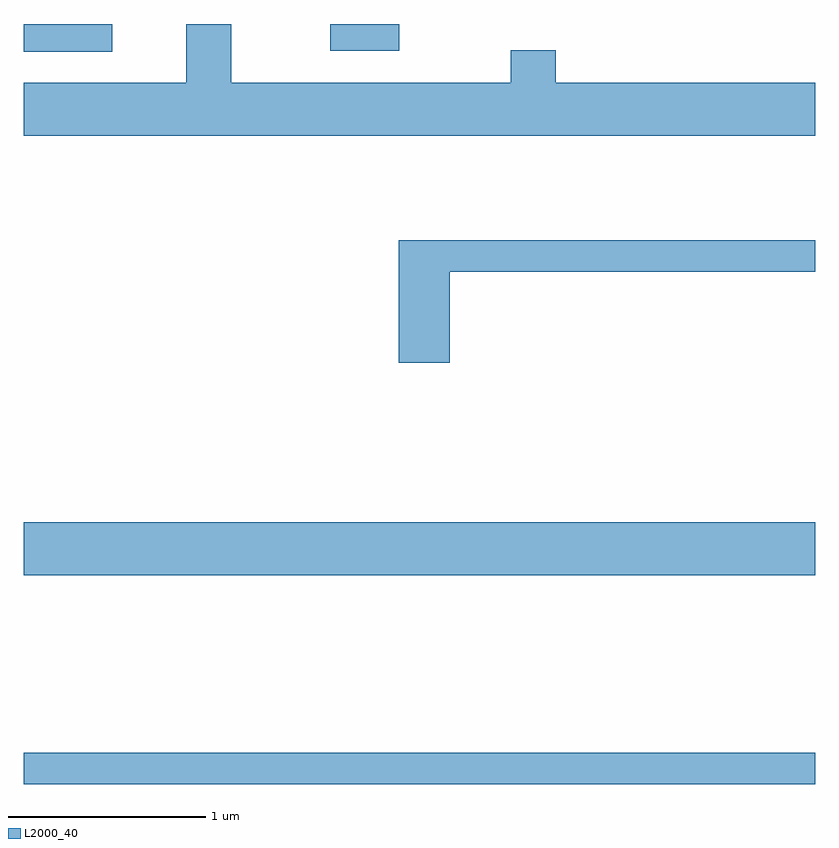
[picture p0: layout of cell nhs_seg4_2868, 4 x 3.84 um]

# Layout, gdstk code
import gdstk
lib = gdstk.Library(unit=1e-6, precision=1e-09)
def R(c, l, rs):  # rectangles x0, y0, x1, y1
    for r in rs: c.add(gdstk.rectangle(r[:2], r[2:], *l))
def P(c, l, *ps):  # polygons
    for p in ps: c.add(gdstk.Polygon(p, *l))
L2000_40 = (2000, 40)

nhs_seg4_2868 = lib.new_cell('nhs_seg4_2868')
R(nhs_seg4_2868, L2000_40, [(269.611,1278.141,273.611,1278.299), (269.611,1279.196,273.611,1279.464), (269.611,1281.841,270.058,1281.982), (271.161,1281.846,271.508,1281.982)])
P(nhs_seg4_2868, L2000_40, [(273.611,1281.684),(272.299,1281.684),(272.299,1281.849),(272.071,1281.849),(272.071,1281.684),(270.659,1281.684),(270.659,1281.982),(270.431,1281.982),(270.431,1281.684),(269.611,1281.684),(269.611,1281.416),(273.611,1281.416)],
  [(271.764,1280.731),(273.611,1280.731),(273.611,1280.889),(271.506,1280.889),(271.506,1280.271),(271.764,1280.271)])

lib.write_gds('nhs_seg4_2868.gds')
